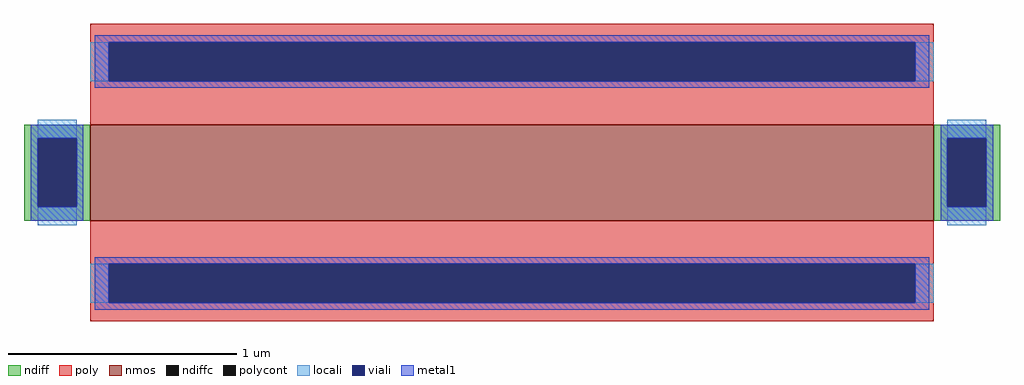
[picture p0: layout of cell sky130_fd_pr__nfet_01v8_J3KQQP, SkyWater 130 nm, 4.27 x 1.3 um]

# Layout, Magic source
magic
tech sky130A
magscale 1 2
<< nmos >>
rect -369 -42 369 42
<< ndiff >>
rect -427 30 -369 42
rect -427 -30 -415 30
rect -381 -30 -369 30
rect -427 -42 -369 -30
rect 369 30 427 42
rect 369 -30 381 30
rect 415 -30 427 30
rect 369 -42 427 -30
<< ndiffc >>
rect -415 -30 -381 30
rect 381 -30 415 30
<< poly >>
rect -369 114 369 130
rect -369 80 -353 114
rect 353 80 369 114
rect -369 42 369 80
rect -369 -80 369 -42
rect -369 -114 -353 -80
rect 353 -114 369 -80
rect -369 -130 369 -114
<< polycont >>
rect -353 80 353 114
rect -353 -114 353 -80
<< locali >>
rect -369 80 -353 114
rect 353 80 369 114
rect -415 30 -381 46
rect -415 -46 -381 -30
rect 381 30 415 46
rect 381 -46 415 -30
rect -369 -114 -353 -80
rect 353 -114 369 -80
<< viali >>
rect -353 80 353 114
rect -415 -30 -381 30
rect 381 -30 415 30
rect -353 -114 353 -80
<< metal1 >>
rect -365 114 365 120
rect -365 80 -353 114
rect 353 80 365 114
rect -365 74 365 80
rect -421 30 -375 42
rect -421 -30 -415 30
rect -381 -30 -375 30
rect -421 -42 -375 -30
rect 375 30 421 42
rect 375 -30 381 30
rect 415 -30 421 30
rect 375 -42 421 -30
rect -365 -80 365 -74
rect -365 -114 -353 -80
rect 353 -114 365 -80
rect -365 -120 365 -114
<< properties >>
string FIXED_BBOX -512 -199 512 199
string gencell sky130_fd_pr__nfet_01v8
string library sky130
string parameters w 0.42 l 3.69 m 1 nf 1 diffcov 100 polycov 100 guard 1 glc 1 grc 1 gtc 1 gbc 1 tbcov 100 rlcov 100 topc 1 botc 1 poverlap 0 doverlap 1 lmin 0.15 wmin 0.42 compatible {sky130_fd_pr__nfet_01v8 sky130_fd_pr__nfet_01v8_lvt  sky130_fd_bs_flash__special_sonosfet_star  sky130_fd_pr__nfet_g5v0d10v5 sky130_fd_pr__nfet_05v0_nvt  sky130_fd_pr__nfet_03v3_nvt} full_metal 1 viasrc 100 viadrn 100 viagate 100 viagb 0 viagr 0 viagl 0 viagt 0
<< end >>
